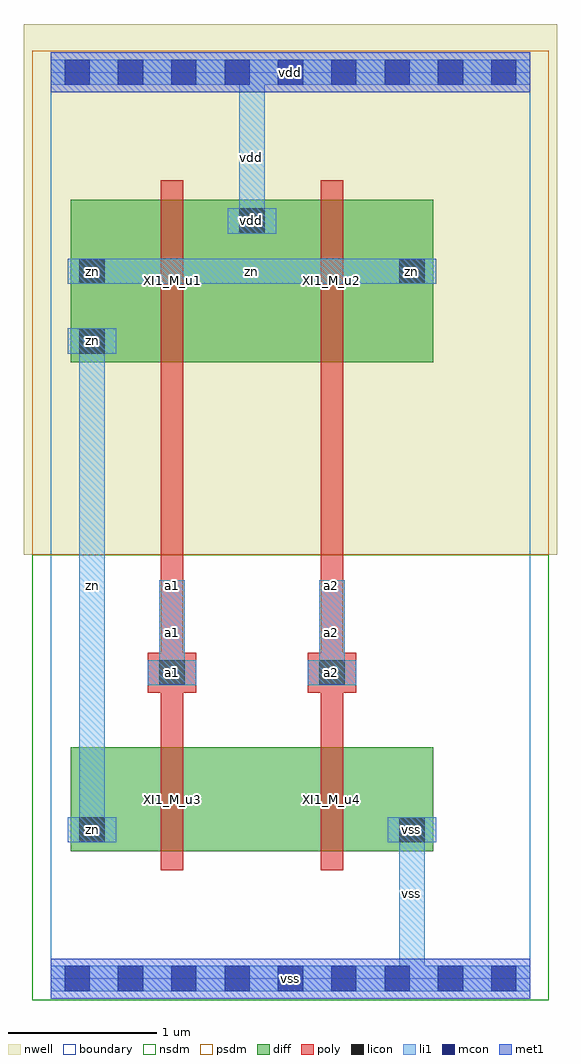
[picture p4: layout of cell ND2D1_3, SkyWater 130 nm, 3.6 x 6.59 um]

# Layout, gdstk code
import gdstk
lib = gdstk.Library(unit=1e-6, precision=1e-09)
def R(c, l, rs):  # rectangles x0, y0, x1, y1
    for r in rs: c.add(gdstk.rectangle(r[:2], r[2:], *l))
def A(c, l, x, y, w, h, nx, ny, dx, dy):  # array of equal rectangles
    R(c, l, [(x+i*dx, y+j*dy, x+i*dx+w, y+j*dy+h) for i in range(nx) for j in range(ny)])
L0_0 = (0, 0)
nwell = (64, 20)
diff = (65, 20)
poly = (66, 20)
licon = (66, 44)
li1 = (67, 20)
mcon = (67, 44)
met1 = (68, 20)
nsdm = (93, 44)
psdm = (94, 20)
boundary = (235, 4)

nd2d1_3 = lib.new_cell('ND2D1_3')
R(nd2d1_3, nwell, [(-0.18,2.86,3.42,6.445)])
R(nd2d1_3, diff, [(0.135,0.86,1.505,1.56), (0.135,0.86,0.425,1.15), (1.215,0.86,2.585,1.56), (2.295,0.86,2.585,1.15), (0.135,4.16,1.505,5.26), (0.135,4.16,0.425,4.45), (1.215,4.16,2.585,5.26), (0.135,4.63,0.425,4.92), (2.295,4.63,2.585,4.92), (1.215,4.97,1.505,5.26)])
R(nd2d1_3, poly, [(0.745,0.73,0.895,1.69), (1.825,0.73,1.975,1.69), (0.745,0.93,0.895,4.38), (1.825,0.93,1.975,4.38), (0.655,1.93,0.985,2.2), (1.735,1.93,2.065,2.2), (0.745,4.03,0.895,5.39), (1.825,4.03,1.975,5.39)])
R(nd2d1_3, licon, [(0.195,0.92,0.365,1.09), (2.355,0.92,2.525,1.09), (0.735,1.98,0.905,2.15), (1.815,1.98,1.985,2.15), (0.195,4.22,0.365,4.39), (0.195,4.69,0.365,4.86), (2.355,4.69,2.525,4.86), (1.275,5.03,1.445,5.2)])
R(nd2d1_3, li1, [(0,-0.085,3.24,0.085), (2.355,0.06,2.525,1.09), (0.115,0.92,0.445,1.09), (0.195,0.92,0.365,4.39), (2.275,0.92,2.605,1.09), (0.655,1.98,0.985,2.15), (0.735,1.98,0.905,2.69), (1.735,1.98,2.065,2.15), (1.815,1.98,1.985,2.69), (0.115,4.22,0.445,4.39), (0.115,4.69,0.445,4.86), (0.195,4.69,2.525,4.86), (2.275,4.69,2.605,4.86), (1.195,5.03,1.525,5.2), (1.275,5.03,1.445,6.06), (0,6.035,3.24,6.205)])
A(nd2d1_3, mcon, 0.095, -0.085, 0.17, 0.17, 9, 2, 0.36, 6.12)
R(nd2d1_3, met1, [(0,-0.135,3.24,0.135), (0,5.985,3.24,6.255)])
R(nd2d1_3, nsdm, [(-0.125,-0.145,3.365,0.145), (-0.125,0.145,3.365,2.86)])
R(nd2d1_3, psdm, [(-0.125,2.86,3.365,5.975), (-0.125,5.975,3.365,6.265)])
R(nd2d1_3, boundary, [(0,0,3.24,6.12)])
nd2d1_3.add(gdstk.FlexPath([(0.115,0.355),(2.605,0.355)], 0, ends="flush", simple_path=True, layer=0, datatype=0))  # L0_0
nd2d1_3.add(gdstk.FlexPath([(0.115,1.005),(2.605,1.005)], 0, ends="flush", simple_path=True, layer=0, datatype=0))  # L0_0
nd2d1_3.add(gdstk.FlexPath([(0.115,1.415),(2.605,1.415)], 0, ends="flush", simple_path=True, layer=0, datatype=0))  # L0_0
nd2d1_3.add(gdstk.FlexPath([(0.115,2.065),(2.605,2.065)], 0, ends="flush", simple_path=True, layer=0, datatype=0))  # L0_0
nd2d1_3.add(gdstk.FlexPath([(0.115,2.605),(2.605,2.605)], 0, ends="flush", simple_path=True, layer=0, datatype=0))  # L0_0
nd2d1_3.add(gdstk.FlexPath([(0.115,3.145),(2.605,3.145)], 0, ends="flush", simple_path=True, layer=0, datatype=0))  # L0_0
nd2d1_3.add(gdstk.FlexPath([(0.115,4.305),(2.605,4.305)], 0, ends="flush", simple_path=True, layer=0, datatype=0))  # L0_0
nd2d1_3.add(gdstk.FlexPath([(0.115,4.775),(2.605,4.775)], 0, ends="flush", simple_path=True, layer=0, datatype=0))  # L0_0
nd2d1_3.add(gdstk.FlexPath([(0.115,5.115),(2.605,5.115)], 0, ends="flush", simple_path=True, layer=0, datatype=0))  # L0_0
nd2d1_3.add(gdstk.FlexPath([(0.115,5.765),(2.605,5.765)], 0, ends="flush", simple_path=True, layer=0, datatype=0))  # L0_0
nd2d1_3.add(gdstk.FlexPath([(0.28,0.06),(0.28,6.06)], 0, ends="flush", simple_path=True, layer=0, datatype=0))  # L0_0
nd2d1_3.add(gdstk.FlexPath([(0.82,0.06),(0.82,6.06)], 0, ends="flush", simple_path=True, layer=0, datatype=0))  # L0_0
nd2d1_3.add(gdstk.FlexPath([(1.36,0.06),(1.36,6.06)], 0, ends="flush", simple_path=True, layer=0, datatype=0))  # L0_0
nd2d1_3.add(gdstk.FlexPath([(1.9,0.06),(1.9,6.06)], 0, ends="flush", simple_path=True, layer=0, datatype=0))  # L0_0
nd2d1_3.add(gdstk.FlexPath([(2.44,0.06),(2.44,6.06)], 0, ends="flush", simple_path=True, layer=0, datatype=0))  # L0_0
nd2d1_3.add(gdstk.Label('XI1_M_u3', (0.82,1.21), layer=65, texttype=20))
nd2d1_3.add(gdstk.Label('XI1_M_u4', (1.9,1.21), layer=65, texttype=20))
nd2d1_3.add(gdstk.Label('XI1_M_u2', (1.9,4.71), layer=65, texttype=20))
nd2d1_3.add(gdstk.Label('XI1_M_u1', (0.82,4.71), layer=65, texttype=20))
nd2d1_3.add(gdstk.Label('zn', (0.28,1.005), layer=65, texttype=20))
nd2d1_3.add(gdstk.Label('zn', (2.44,4.775), layer=65, texttype=20))
nd2d1_3.add(gdstk.Label('zn', (0.28,4.305), layer=65, texttype=20))
nd2d1_3.add(gdstk.Label('zn', (0.28,4.775), layer=65, texttype=20))
nd2d1_3.add(gdstk.Label('vss', (2.44,1.005), layer=65, texttype=20))
nd2d1_3.add(gdstk.Label('vdd', (1.36,5.115), layer=65, texttype=20))
nd2d1_3.add(gdstk.Label('a1', (0.82,2.655), layer=66, texttype=20))
nd2d1_3.add(gdstk.Label('a1', (0.82,2.065), layer=66, texttype=20))
nd2d1_3.add(gdstk.Label('a2', (1.9,2.655), layer=66, texttype=20))
nd2d1_3.add(gdstk.Label('a2', (1.9,2.065), layer=66, texttype=20))
nd2d1_3.add(gdstk.Label('zn', (0.28,1.005), layer=66, texttype=44))
nd2d1_3.add(gdstk.Label('zn', (2.44,4.775), layer=66, texttype=44))
nd2d1_3.add(gdstk.Label('zn', (0.28,4.305), layer=66, texttype=44))
nd2d1_3.add(gdstk.Label('zn', (0.28,4.775), layer=66, texttype=44))
nd2d1_3.add(gdstk.Label('a1', (0.82,2.065), layer=66, texttype=44))
nd2d1_3.add(gdstk.Label('a2', (1.9,2.065), layer=66, texttype=44))
nd2d1_3.add(gdstk.Label('vss', (2.44,1.005), layer=66, texttype=44))
nd2d1_3.add(gdstk.Label('vdd', (1.36,5.115), layer=66, texttype=44))
nd2d1_3.add(gdstk.Label('zn', (0.28,1.005), layer=67, texttype=16))
nd2d1_3.add(gdstk.Label('zn', (2.44,4.775), layer=67, texttype=16))
nd2d1_3.add(gdstk.Label('zn', (0.28,4.305), layer=67, texttype=16))
nd2d1_3.add(gdstk.Label('zn', (0.28,4.775), layer=67, texttype=16))
nd2d1_3.add(gdstk.Label('zn', (0.28,2.655), layer=67, texttype=16))
nd2d1_3.add(gdstk.Label('zn', (1.36,4.775), layer=67, texttype=16))
nd2d1_3.add(gdstk.Label('a1', (0.82,2.065), layer=67, texttype=16))
nd2d1_3.add(gdstk.Label('a1', (0.82,2.335), layer=67, texttype=16))
nd2d1_3.add(gdstk.Label('a2', (1.9,2.065), layer=67, texttype=16))
nd2d1_3.add(gdstk.Label('a2', (1.9,2.335), layer=67, texttype=16))
nd2d1_3.add(gdstk.Label('vss', (2.44,1.005), layer=67, texttype=20))
nd2d1_3.add(gdstk.Label('vss', (2.44,0.575), layer=67, texttype=20))
nd2d1_3.add(gdstk.Label('vdd', (1.36,5.115), layer=67, texttype=20))
nd2d1_3.add(gdstk.Label('vdd', (1.36,5.545), layer=67, texttype=20))
nd2d1_3.add(gdstk.Label('vss', (1.62,0), layer=67, texttype=16))
nd2d1_3.add(gdstk.Label('vdd', (1.62,6.12), layer=67, texttype=16))
nd2d1_3.add(gdstk.Label('vss', (1.62,0), layer=68, texttype=16))
nd2d1_3.add(gdstk.Label('vdd', (1.62,6.12), layer=68, texttype=16))

lib.write_gds('ND2D1_3.gds')
